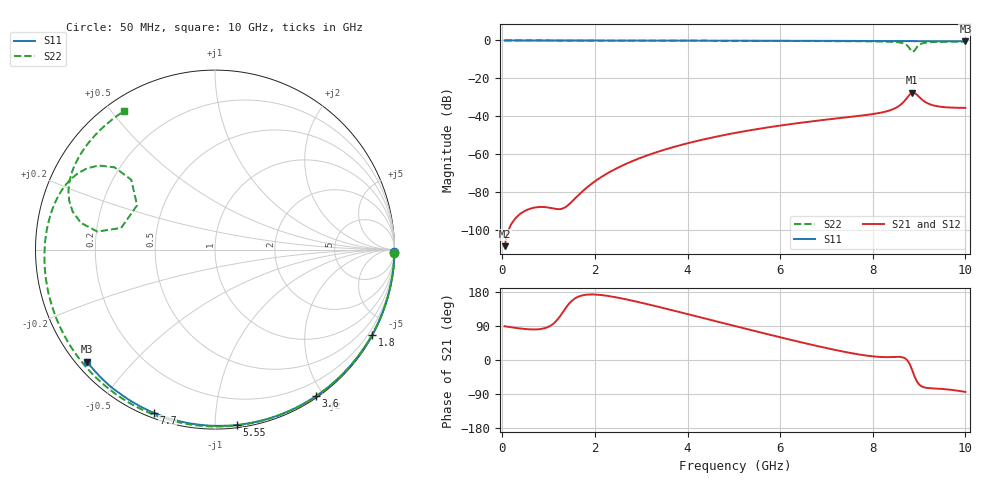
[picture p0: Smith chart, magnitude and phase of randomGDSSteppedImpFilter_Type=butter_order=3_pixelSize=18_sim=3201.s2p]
! freq	dB(S11)	phase(S11)	dB(S12)	phase(S12)
!  dB(S21)	phase(S21)	dB(S22)	phase(S22)
!S-par simulation data
#  GHz  S  DB  R 50
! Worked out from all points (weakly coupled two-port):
!   200 points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, 50 MHz to 10 GHz, reference 50 ohm
!   highest |S21| = -27.56 dB at 8.85 GHz (marker M1); lowest = -108.7 dB at 50 MHz (marker M2)
!   lowest |S11| = -0.5 dB at 10 GHz (marker M3), VSWR 37.33, Z = 1.53 - j18.8 ohm
!   |S11| at or under -10 dB: nowhere
!   |S22| runs from -6.0 to 0.0 dB; largest |S21 - S12| = 0
!   S11 on the Smith chart (normalised r, x): 50 MHz: open; 1.8 GHz: 0.03, -3.94; 3.6 GHz: 0.02, -1.90; 5.55 GHz: 0.02, -1.13; 7.7 GHz: 0.02, -0.69; 10 GHz: 0.03, -0.38
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0.05  -0.00 -0.8  -108.74 89.0  -108.74 89.0  -0.00 -1.2
0.85  -0.02 -13.6  -88.00 82.2  -88.00 82.2  -0.02 -20.6
1.75  -0.04 -27.7  -79.35 171.1  -79.35 171.1  -0.05 -41.9
1.8  -0.04 -28.4  -78.28 172.1  -78.28 172.1  -0.05 -43.1
2.45  -0.05 -38.4  -67.84 165.5  -67.84 165.5  -0.07 -58.2
3.4  -0.07 -52.6  -58.53 139.5  -58.53 139.5  -0.11 -79.6
3.6  -0.07 -55.6  -57.03 133.5  -57.03 133.5  -0.11 -84.0
5.05  -0.12 -76.1  -48.78 88.8  -48.78 88.8  -0.18 -115.7
5.55  -0.14 -82.9  -46.67 73.5  -46.67 73.5  -0.21 -126.6
6.7  -0.19 -98.0  -42.71 39.7  -42.71 39.7  -0.31 -152.4
7.7  -0.25 -110.7  -39.86 14.6  -39.86 14.6  -0.43 -177.2
8.35  -0.31 -118.7  -37.12 7.6  -37.12 7.6  -0.66 162.7
8.55  -0.33 -121.1  -34.88 8.3  -34.88 8.3  -0.98 153.8
8.7  -0.34 -122.9  -31.56 4.2  -31.56 4.2  -1.94 144.1
8.8  -0.35 -124.1  -28.54 -11.2  -28.54 -11.2  -4.34 140.2
8.85  -0.35 -124.7  -27.56 -26.2  -27.56 -26.2  -6.03 150.4
8.9  -0.35 -125.3  -27.63 -42.8  -27.63 -42.8  -5.41 167.0
8.95  -0.35 -125.9  -28.59 -56.0  -28.59 -56.0  -3.57 171.3
9.05  -0.36 -127.2  -31.00 -69.2  -31.00 -69.2  -1.70 165.0
9.15  -0.37 -128.4  -32.77 -73.3  -32.77 -73.3  -1.11 158.2
9.45  -0.40 -132.1  -35.00 -75.9  -35.00 -75.9  -0.73 143.9
10  -0.47 -138.7  -35.62 -84.2  -35.62 -84.2  -0.69 123.5
